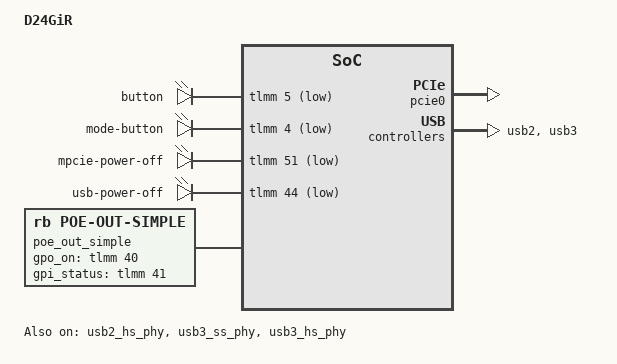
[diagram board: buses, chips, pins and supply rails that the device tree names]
/dts-v1/;
#define BIG_DK
#define NAND
#include "ipq40xx.dtsi"

/ {
	model = "D24GiR";

	leds {
		compatible = "leds-rb";
		system-led {
			red {
				gpios = <&tlmm 1 GPIO_ACTIVE_HIGH>;
			};
			green {
				gpios = <&tlmm 3 GPIO_ACTIVE_HIGH>;
			};
			blue {
				gpios = <&tlmm 0 GPIO_ACTIVE_HIGH>;
			};
		};
		button {
			gpios = <&tlmm 5 GPIO_ACTIVE_LOW>;
			default-state = "input";
		};
		mode-button {
			gpios = <&tlmm 4 GPIO_ACTIVE_LOW>;
			default-state = "input";
		};
		mpcie-power-off {
			gpios = <&tlmm 51 GPIO_ACTIVE_LOW>;
		};
		usb-power-off {
			gpios = <&tlmm 44 GPIO_ACTIVE_LOW>;
		};
	};
	poe_out_simple: poe-out-simple {
		compatible = "rb,poe-out-simple";
		eth_port = <1>;
		gpo_on = <&tlmm 40 GPIO_ACTIVE_HIGH>;
		gpi_status = <&tlmm 41 GPIO_ACTIVE_HIGH>;
		status = "ok";
	};
	wlan-data {
		compatible = "wlan-data-rb";
		wlan1 {
			pci-domain-nr = <0>;
			pci-bus-nr = <3>;
			caldata-instance = <1>;
		};
	};
};

&tlmm {
	edma_pins: ema_pinmux {
		mux {
			pins = "gpio6", "gpio7";
			function = "mdio";
			bias-disable;
		};
	};
};

&edma {
	port_map = <4 3 (-1)>;
	pinctrl-0 = <&edma_pins>;
	pinctrl-names = "default";
};

&pcie0 {
	persts-gpio = <&tlmm 38 GPIO_ACTIVE_LOW>, /* PCIe switch IC */
			<&tlmm 48 GPIO_ACTIVE_HIGH>, /* cascade */
			<&tlmm 42 GPIO_ACTIVE_HIGH>, /* wigig */
			<&tlmm 49 GPIO_ACTIVE_HIGH>; /* mpcie */
	status = "ok";
};

&usb2 {
	status = "ok";
};

&usb2_hs_phy {
	status = "ok";
};

&usb3 {
	status = "ok";
};

&usb3_ss_phy {
	status = "ok";
};

&usb3_hs_phy {
	status = "ok";
};

